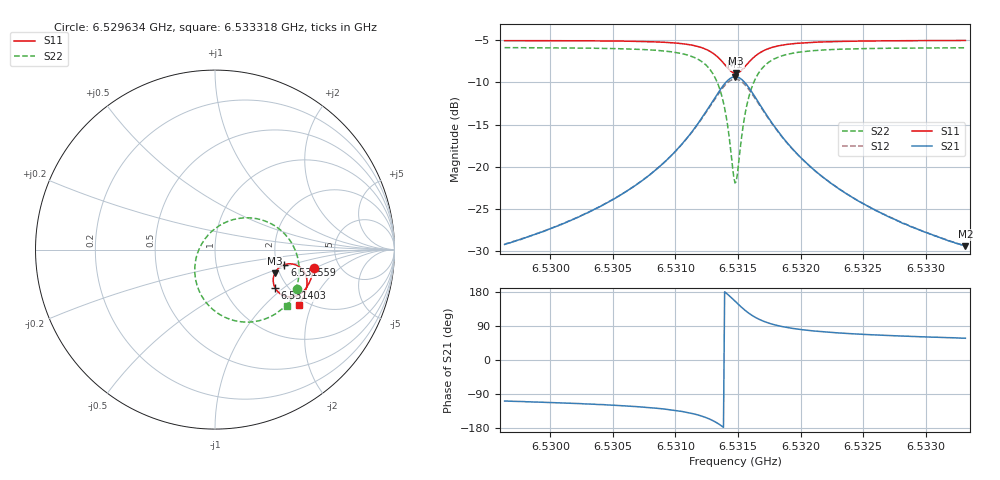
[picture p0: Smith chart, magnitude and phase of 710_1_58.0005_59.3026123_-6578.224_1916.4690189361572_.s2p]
#  HZ  S  RI  R  50.00
! Rohde & Schwarz Vector Network Analyzer
! Rohde-Schwarz,ZNB20-2Port,1311601062101988,3.16
! Created: UTC 3/21/2024, 1:22:08 AM
! freq[Hz]  re:S11  im:S11  re:S21  im:S21  re:S12  im:S12  re:S22  im:S22
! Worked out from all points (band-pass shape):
!   401 points, 6.529634 GHz to 6.533318 GHz, reference 50 ohm
!   highest |S21| = -9.31 dB at 6.531476 GHz (marker M1); lowest = -29.4 dB at 6.533318 GHz (marker M2)
!   |S21| within 3 dB of the highest: 6.531294 GHz to 6.531662 GHz (368.1 kHz wide, 0.00564 % of centre)
!   lowest |S11| = -8.9 dB at 6.531485 GHz (marker M3), VSWR 2.12, Z = 94.2 - j28.6 ohm
!   |S11| at or under -10 dB: nowhere
!   |S22| runs from -21.9 to -5.9 dB; largest |S21 - S12| = 0.014
!   S11 on the Smith chart (normalised r, x): 6.529634 GHz: 3.23, -0.96; 6.531403 GHz: 1.73, -0.88; 6.531559 GHz: 2.20, -0.44; 6.533318 GHz: 1.82, -1.64
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6.5296343e9  0.5508 -0.1022  -0.0109 -0.0328  -0.0116 -0.0326  0.4581 -0.2217
6.5302514e9  0.5371 -0.1546  -0.022 -0.0465  -0.0232 -0.0459  0.4213 -0.2801
6.5305921e9  0.5238 -0.1873  -0.0363 -0.0601  -0.0377 -0.0593  0.3845 -0.321
6.5308684e9  0.5043 -0.2186  -0.0611 -0.0785  -0.0636 -0.0766  0.3281 -0.3634
6.5310802e9  0.4738 -0.2468  -0.1063 -0.0974  -0.1092 -0.0935  0.2377 -0.398
6.531246e9  0.4212 -0.2637  -0.1886 -0.0994  -0.1902 -0.091  0.0889 -0.3902
6.5313381e9  0.3708 -0.251  -0.2658 -0.0606  -0.2628 -0.0493  -0.0368 -0.3096
6.5313749e9  0.3489 -0.2333  -0.2977 -0.0242  -0.2912 -0.0126  -0.0829 -0.2418
6.5314026e9  0.3351 -0.2138  -0.3163 0.0139  -0.3072 0.0243  -0.1062 -0.1753
6.5314578e9  0.325 -0.1605  -0.3219 0.1097  -0.3086 0.1148  -0.0962 -0.0168
6.5314762e9  0.3294 -0.1414  -0.311 0.1428  -0.2975 0.1454  -0.0723 0.0347
6.5314854e9  0.3329 -0.1324  -0.3029 0.1584  -0.2897 0.1598  -0.0566 0.0585
6.5315039e9  0.343 -0.1158  -0.283 0.1865  -0.2704 0.1856  -0.0188 0.1008
6.5315591e9  0.3862 -0.0841  -0.2033 0.2386  -0.1952 0.2339  0.1207 0.1716
6.5315868e9  0.4092 -0.0792  -0.1625 0.2461  -0.1566 0.2413  0.1896 0.1771
6.5316236e9  0.4366 -0.0813  -0.1153 0.2427  -0.1114 0.2384  0.2681 0.1629
6.5317157e9  0.4812 -0.1051  -0.0393 0.206  -0.0378 0.2038  0.3904 0.0849
6.5318538e9  0.5065 -0.1448  0.00491 0.1504  0.00598 0.1496  0.4549 -0.0255
6.5320933e9  0.5126 -0.1923  0.022 0.0953  0.0232 0.095  0.4683 -0.1375
6.532388e9  0.5057 -0.2301  0.0235 0.0635  0.0243 0.0631  0.4541 -0.2093
6.5327103e9  0.4942 -0.2611  0.0217 0.0453  0.0225 0.0451  0.4348 -0.2568
6.5333182e9  0.4694 -0.3081  0.0182 0.0285  0.0188 0.0282  0.3992 -0.3143
